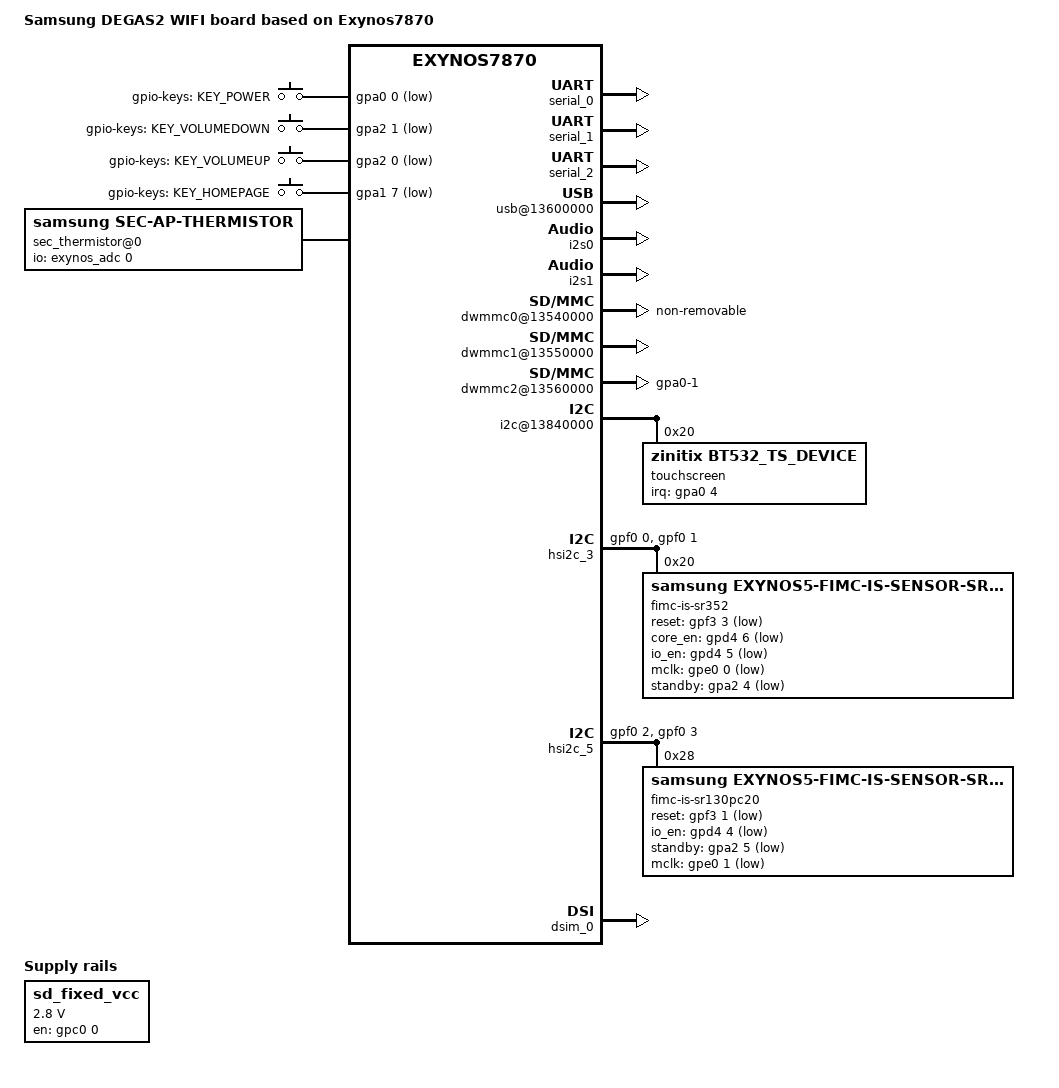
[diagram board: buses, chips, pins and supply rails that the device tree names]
/*
 * SAMSUNG UNIVERSAL8890 board device tree source
 *
 * Copyright (c) 2013 Samsung Electronics Co., Ltd.
 *		http://www.samsung.com
 *
 * This program is free software; you can redistribute it and/or modify
 * it under the terms of the GNU General Public License version 2 as
 * published by the Free Software Foundation.
*/

#include "exynos7870-rmem-1500MB.dtsi"
#include "exynos7870.dtsi"

/ {
	model = "Samsung DEGAS2 WIFI board based on Exynos7870";
	compatible = "samsung,exynos7870", "samsung,universal7870";

	ect {
		parameter_address = <0x50000000>;
		parameter_size = <0x14000>;	/* u-boot always overwrites this value. */
	};

	memory@40000000 {
		device_type = "memory";
		reg = <0x0 0x40000000 0x3E400000>;
	};

	memory@80000000 {
		device_type = "memory";
		reg = <0x0 0x80000000 0x20000000>;
	};

	chosen {
		bootargs = "console=ram ess_setup=0x46000000 androidboot.hardware=samsungexynos7870 androidboot.selinux=disabled firmware_class.path=/vendor/firmware androidboot.debug_level=0x4948 reserve-fimc=0";
		linux,initrd-start = <0x42000000>;
		linux,initrd-end = <0x420FFFFF>;
	};

	fixed-rate-clocks {
		oscclk {
			compatible = "samsung,exynos7870-oscclk";
			clock-frequency = <26000000>;
		};
	};

	reserved-memory {
		#address-cells = <2>;
		#size-cells = <1>;
		ranges;

		mfc_fw {
			compatible = "exynos5433-ion,mfc_fw";
			secure;
			reg = <0x0 0xAE800000 0x200000>;
			id = <8>;
		};

		mfc_nfw {
			compatible = "exynos5433-ion,mfc_nfw";
			reg = <0x0 0xAE600000 0x200000>;
			id = <12>;
		};
	};

	serial_0: uart@13810000 {
		status = "okay";
	};

	serial_1: uart@13800000 {
		status = "okay";
	};

	serial_2: uart@13820000 {
		status = "okay";
	};

	usb@13600000 {
		status = "okay";

		dwc3 {
			maximum-speed = "high-speed";
			dr_mode = "otg";
			is_not_vbus_pad;
		};
	};

	pinctrl_1: pinctrl@148C0000 {
		compatible = "samsung,exynos7870-pinctrl";
		reg = <0x0 0x148C0000 0x1000>;
		interrupts = <0 68 0>;
	};

	s1402x: s1402x@14880000 {
		pinctrl-names = "default", "idle";
		pinctrl-0 = <&i2s_pmic_bus
				&i2s_bt_bus>;
		pinctrl-1 = <&i2s_pmic_bus_idle
				&i2s_bt_bus_idle> ;
		bck-mcko-mode;
		status = "okay";
	};

	i2s0: i2s@148A0000 {
		status = "okay";
	};

	i2s1: i2s@148B0000 {
		status = "okay";
	};

	audio_cp_dummy: cp_dummy {
			compatible = "samsung,cp_dummy";
			status = "okay";
	};

	audio_fm_dummy: fm_dummy {
			compatible = "samsung,fm_dummy";
			status = "okay";
	};

	audio_bt_dummy: bt_dummy {
			compatible = "samsung,bt_dummy";
			status = "okay";
	};

	audio_codec_dummy: dummy-codec {
			compatible = "samsung,dummy-codec";
			status = "okay";
	};


	gpio_keys {
		compatible = "gpio-keys";
		pinctrl-names = "default";
		pinctrl-0 = <&key_power &key_voldown &key_volup &key_home>;
		#address-cells = <1>;
		#size-cells = <0>;

		button@1 {
			label = "gpio-keys: KEY_POWER";
			interrupts = <0 0 0>;
			interrupt-parent = <&gpa0>;
			linux,code = <116>;
			gpios = <&gpa0 0 0xf>;
			gpio-key,wakeup = <1>;
		};
		button@2 {
			label = "gpio-keys: KEY_VOLUMEDOWN";
			interrupts = <1 0 0>;
			interrupt-parent = <&gpa2>;
			linux,code = <114>;
			gpios = <&gpa2 1 0xf>;
		};
		button@3 {
			label = "gpio-keys: KEY_VOLUMEUP";
			interrupts = <0 0 0>;
			interrupt-parent = <&gpa2>;
			linux,code = <115>;
			gpios = <&gpa2 0 0xf>;
		};
		button@4 {
			label = "gpio-keys: KEY_HOMEPAGE";
			interrupts = <7 0 0>;
			interrupt-parent = <&gpa1>;
			linux,code = <172>;
			gpios = <&gpa1 7 0xf>;
			gpio-key,wakeup = <1>;
		};
	};

	dwmmc0@13540000 {
		status = "okay";
		num-slots = <1>;
		broken-cd;
		use-smu;
		fixed_voltage;
		clock-gate;
		supports-highspeed;
		mmc-ddr-1_8v;
		mmc-hs200-1_8v;
		mmc-hs400-1_8v;
		mmc-shutdown-poweroff;
		pm-skip-mmc-resume-init;
		supports-8bit;
		supports-cmd23;
		supports-erase;
		enable-ulp-mode;
		supports-hs400-enhanced-strobe;
		use-fine-tuning;
		bypass-for-allpass;
		card-init-hwacg-ctrl;
		fifo-depth = <0x40>;
		non-removable;
		desc-size = <4>;
		card-detect-delay = <200>;
		data-timeout = <200>;
		clock-frequency = <800000000>;
		samsung,dw-mshc-ciu-div = <3>;
		samsung,dw-mshc-txdt-crc-timer-fastlimit = <0x34>;
		samsung,dw-mshc-txdt-crc-timer-initval = <0x38>;
		samsung,dw-mshc-ddr200-delay-line = <0x60>;
		samsung,dw-mshc-sdr-timing = <3 0 4 0>;
		samsung,dw-mshc-ddr-timing = <3 0 4 2>;
		samsung,dw-mshc-hs200-timing = <3 0 3 0>;
		samsung,dw-mshc-ddr200-timing = <1 0 4 0>;
		samsung,dw-mshc-ddr200-ulp-timing = <3 0 3 0>;

		num-ref-clks = <12>;
		ciu_clkin = <25 50 50 25 50 100 200 50 50 200 200 200>;

		/* Swapping clock drive strength */
		clk-drive-number = <6>;
		pinctrl-names = "default",
			"fast-slew-rate-1x",
			"fast-slew-rate-2x",
			"fast-slew-rate-3x",
			"fast-slew-rate-4x",
			"fast-slew-rate-5x",
			"fast-slew-rate-6x";
		pinctrl-0 = <&sd0_clk &sd0_cmd &sd0_rdqs &sd0_bus1 &sd0_bus4 &sd0_bus8>;
		pinctrl-1 = <&sd0_clk_fast_slew_rate_1x>;
		pinctrl-2 = <&sd0_clk_fast_slew_rate_2x>;
		pinctrl-3 = <&sd0_clk_fast_slew_rate_3x>;
		pinctrl-4 = <&sd0_clk_fast_slew_rate_4x>;
		pinctrl-5 = <&sd0_clk_fast_slew_rate_5x>;
		pinctrl-6 = <&sd0_clk_fast_slew_rate_6x>;
		slot@0 {
			reg = <0>;
			bus-width = <8>;
		};
	};

	dwmmc1@13550000 {
		status = "okay";
		num-slots = <1>;
		channel = <1>;
		fixed_voltage;
		clock-gate;
		enable-cclk-on-suspend;
		caps-control;
		supports-highspeed;
		supports-4bit;
		sd-uhs-sdr104;
		keep-power-in-suspend;
		pm-ignore-notify;
		card-detect-type-external;
		use-broken-voltage;
		use-fine-tuning;
		ignore-phase = <(1 << 7)>;
		fifo-depth = <0x40>;
		card-detect-delay = <200>;
		samsung,dw-mshc-ciu-div = <3>;
		samsung,dw-mshc-sdr-timing = <3 0 3 0>;
		samsung,dw-mshc-ddr-timing = <3 0 2 1>;
		samsung,dw-mshc-sdr50-timing = <3 0 4 2>;
		samsung,dw-mshc-sdr104-timing = <3 0 3 0>;
		clk_pin = "gpr2-0";
		clk_addr = "13750000.pinctrl";
		clk_val = <0x2>;
		clk_str_num = <4>;
		num-ref-clks = <9>;
		ciu_clkin = <25 50 50 25 50 100 200 50 50>;

		pinctrl-names = "default";
		pinctrl-0 = <&sd1_clk &sd1_cmd &sd1_bus1 &sd1_bus4>;
		slot@0 {
			reg = <0>;
			bus-width = <4>;
		};
	};

	dwmmc2@13560000 {
		status = "okay";
		num-slots = <1>;
		supports-highspeed;
		supports-4bit;
		supports-cmd23;
		supports-erase;
		sd-uhs-sdr50;
		sd-uhs-sdr104;
		card-detect-gpio;
		clock-gate;
		bypass-smu;
		bypass-for-allpass;
		use-fine-tuning;
		card-init-hwacg-ctrl;
		only_once_tune;
		skip-init-mmc-scan;
		samsung,voltage-int-extra = <0x7>;
		ignore-phase = <(1 << 7)>;
		fifo-depth = <0x40>;
		desc-size = <8>;
		card-detect-delay = <200>;
		data-timeout = <200>;
		hto-timeout = <550>;
		samsung,dw-mshc-ciu-div = <3>;
		clock-frequency = <800000000>;
		samsung,dw-mshc-sdr-timing = <3 0 3 0>;
		samsung,dw-mshc-ddr-timing = <3 0 2 1>;
		samsung,dw-mshc-sdr50-timing = <3 0 4 2>;
		samsung,dw-mshc-sdr104-timing = <3 0 3 0>;

		num-ref-clks = <9>;
		ciu_clkin = <25 50 50 25 50 100 167 50 50>;

		/* Swapping clock drive strength */
		clk-drive-number = <4>;
		pinctrl-names = "default",
			"fast-slew-rate-1x",
			"fast-slew-rate-2x",
			"fast-slew-rate-3x",
			"fast-slew-rate-4x";
		pinctrl-0 = <&sd2_clk &sd2_cmd &sd2_bus1 &sd2_bus4 &dwmmc2_cd_ext_irq>;
		pinctrl-1 = <&sd2_clk_fast_slew_rate_1x>;
		pinctrl-2 = <&sd2_clk_fast_slew_rate_2x>;
		pinctrl-3 = <&sd2_clk_fast_slew_rate_3x>;
		pinctrl-4 = <&sd2_clk_fast_slew_rate_4x>;

		card-detect = <&gpa0 1 0xf>;
		card-detect-gpio;
		sec-sd-slot-type = <1>; /* Normal SD slot */

		slot@0 {
			reg = <0>;
			bus-width = <4>;
			disable-wp;
		};
	};

	pinctrl@139B0000 {
		boot_ldo: boot-ldo {
			samsung,pins = "gpc0-0";
			samsung,pin-pud = <1>;
			samsung,pin-pud-pdn = <1>;
		};
	};

	sd_fixed_vcc: fixedregulator@0 {
		compatible = "regulator-fixed";
		regulator-name = "vmmc";
		/* gpc0-0 and gpc0-2 register is switched */
		/* This is to make gpc0-2 pull-down enabled */
		/* PUD, DRV, PUDPDN: See exynos7870 UM v0.3 for more details */
		pinctrl-names = "default";
		pinctrl-0 = <&boot_ldo>;
		gpio = <&gpc0 0 1>;
		regulator-min-microvolt = <2800000>;
		regulator-max-microvolt = <2800000>;
		enable-active-high;
		regulator-initial-mode = <0>;
	};

	pinctrl@139F0000 {
		attn_input: attn-input {
			samsung,pins = "gpa0-4";
			samsung,pin-function = <0>;
			samsung,pin-pud = <0>;
			samsung,pin-drv = <0>;
		};
		attn_irq: attn-irq {
			samsung,pins = "gpa0-4";
			samsung,pin-function = <0xf>;
			samsung,pin-pud = <0>;
			samsung,pin-drv = <0>;
		};
	};

	i2c@13840000 {
		samsung,i2c-sda-delay = <100>;
		samsung,i2c-max-bus-freq = <400000>;
		status = "okay";
		touchscreen@20 {
			compatible = "zinitix,bt532_ts_device";
			reg = <0x20>;
			pinctrl-names = "on_state", "off_state";
			pinctrl-0 = <&attn_irq>;
			pinctrl-1 = <&attn_input>;
			zinitix,irq_gpio = <&gpa0 4 0>;
			zinitix,regulator_dvdd = "TSP_VDD_3P3";
			zinitix,regulator_avdd = "vdd_ldo3";
			zinitix,x_resolution = <3200>;
			zinitix,y_resolution = <5120>;
			zinitix,page_size = <64>;
			zinitix,orientation = <0>;
			zinitix,chip_name = "ZT7548";
			zinitix,firmware_name = "tsp_zinitix/zt7548_degas2.fw";
			zinitix,touchkey = "true";
		};
	};


	pinctrl@139B0000 {
		cfg_gpio: cfg-gpio {
			samsung,pins = "gpc8-1", "gpc8-0";
			samsung,pin-function = <0>;
			samsung,pin-pud = <0>;
			samsung,pin-drv = <0>;
		};
	};

	pinctrl@139B0000 {
		/* I2C_SENSOR1 */
		i2c5_bus: i2c5-bus {
			samsung,pins = "gpc4-3", "gpc4-2";
			samsung,pin-function = <2>;
			samsung,pin-pud = <0>;
			samsung,pin-drv = <0>;
		};
	};

	pinctrl@139F0000 {
		key_power: key-power {
			samsung,pins = "gpa0-0";
			samsung,pin-function = <0xf>;
			samsung,pin-pud = <0>;
			samsung,pin-drv = <0>;
		};
		dwmmc2_cd_ext_irq: dwmmc2_cd_ext_irq {
			samsung,pins = "gpa0-1";
			samsung,pin-function = <0xf>;
			samsung,pin-pud = <0>;
			samsung,pin-drv = <0>;
		};
		grip_wifi_int: grip_wifi_int {
			samsung,pins = "gpa0-5";
			samsung,pin-function = <0xf>;
			samsung,pin-pud = <0>;
			samsung,pin-drv = <0>;
		};
		acc_int: acc_int {
			samsung,pins = "gpa0-7";
			samsung,pins-function = <0xf>;
			samsung,pin-pud = <0>;
			samsung,pin-drv = <0>;
		};
		key_voldown: key-voldown {
			samsung,pins = "gpa2-1";
			samsung,pin-function = <0xf>;
			samsung,pin-pud = <0>;
			samsung,pin-drv = <0>;
		};

		key_volup: key-volup {
			samsung,pins = "gpa2-0";
			samsung,pin-function = <0xf>;
			samsung,pin-pud = <0>;
			samsung,pin-drv = <0>;
		};

		key_home: key-home {
			samsung,pins = "gpa1-7";
			samsung,pin-function = <0xf>;
			samsung,pin-pud = <0>;
			samsung,pin-drv = <0>;
		};
		pmic_irq: pmic-irq {
			samsung,pins = "gpa0-2";
			samsung,pin-pud = <3>;
			samsung,pin-drv = <3>;
		};

		cod3026_irq: cod3026-irq {
			samsung,pins = "gpa1-5";
			samsung,pin-pud = <3>;
			samsung,pin-drv = <3>;
		};

		if_irq: if-irq {
			samsung,pins = "gpa2-7";
			samsung,pin-pud = <3>;
			samsung,pin-drv = <3>;
		};

		cfg_wlanhostwake: cfg-wlanhostwake {
			samsung,pins = "gpa2-2";
			samsung,pin-function = <1>;
			samsung,pin-pud = <3>;
		};

	};

	pinctrl@139E0000 {
		if_pmic_rstb: if-pmic-rstb {
			samsung,pins = "gpc7-4";
			samsung,pin-function = <2>;
			samsung,pin-pud = <3>;
			samsung,pin-con-pdn = <3>;
		};
	};

	pinctrl@139B0000 {
		/* Warm reset information from AP */
		pm_wrsti: pm-wrsti {
			samsung,pins = "gpd1-0";
			samsung,pin-con-pdn = <3>;
		};
	};

	pinctrl@139B0000 {
		cnss_wlanen: cnss-wlanen  {       /* WLAN_EN */
			samsung,pins = "gpd3-6";
			samsung,pin-function = <1>;
			samsung,pin-pud = <0>;
			samsung,pin-drv = <3>;
			samsung,pin-con-pdn = <3>;
			samsung,pin-pud-pdn = <0>;
			samsung,pin-val = <0>;
		};
	};

	sound {
		compatible = "samsung,universal7870-cod3026x";
		samsung,audio-cpu = <&i2s0      /* primary */
			&i2s0                    /* secondary */
			&audio_cp_dummy
			&audio_bt_dummy
			&audio_fm_dummy
			&i2s1			/*AMP for AP */
			&audio_cp_dummy		/*AMP for CP */
			&eax
			&eax
			&eax
			&eax>;
		samsung,audio-codec = <&audio_codec_cod3026x
			&audio_codec_cod3026x
			&audio_codec_cod3026x
			&audio_codec_dummy
			&audio_codec_cod3026x
			&audio_codec_dummy
			&audio_codec_dummy
			&audio_codec_cod3026x
			&audio_codec_cod3026x
			&audio_codec_cod3026x
			&audio_codec_cod3026x>;
		mic-bias-mode = <2 1 2 0>;
		samsung,auxdev = <&s1402x>;
		status = "okay";
	};

	ion {
		compatible = "samsung,exynos5430-ion";
	};

	tmuctrl_0: tmuctrl_CPUCL0@10130000 {
		compatible = "samsung,exynos7870-tmu";
		reg = <0x0 0x10130000 0x200>;
		interrupts = <0 435 0>;
		max_trigger_level = <8>;
		non_hw_trigger_levels = <7>;

		/* Throttling Level */
		trigger_levels_0 = <76>;
		trigger_levels_1 = <81>;
		trigger_levels_2 = <86>;
		trigger_levels_3 = <91>;
		trigger_levels_4 = <96>;
		trigger_levels_5 = <101>;
		trigger_levels_6 = <111>;
		trigger_levels_7 = <115>;

		trigger_enable_0 = <ENABLE>;
		trigger_enable_1 = <ENABLE>;
		trigger_enable_2 = <ENABLE>;
		trigger_enable_3 = <ENABLE>;
		trigger_enable_4 = <ENABLE>;
		trigger_enable_5 = <ENABLE>;
		trigger_enable_6 = <ENABLE>;
		trigger_enable_7 = <ENABLE>;

		trigger_type_0 = <THROTTLE_ACTIVE>;
		trigger_type_1 = <THROTTLE_ACTIVE>;
		trigger_type_2 = <THROTTLE_ACTIVE>;
		trigger_type_3 = <THROTTLE_ACTIVE>;
		trigger_type_4 = <THROTTLE_ACTIVE>;
		trigger_type_5 = <THROTTLE_ACTIVE>;
		trigger_type_6 = <THROTTLE_ACTIVE>;
		trigger_type_7 = <HW_TRIP>;

		freq_tab_count = <5>;

		freq_clip_max_0 = <1586000>;
		freq_clip_max_1 = <1248000>;
		freq_clip_max_2 = <1248000>;
		freq_clip_max_3 = <546000>;
		freq_clip_max_4 = <546000>;

		cooling_level_0 = <76>;
		cooling_level_1 = <81>;
		cooling_level_2 = <86>;
		cooling_level_3 = <91>;
		cooling_level_4 = <96>;
	};

	tmuctrl_1: tmuctrl_CPUCL1@10130000 {
		compatible = "samsung,exynos7870-tmu";
		reg = <0x0 0x10130000 0x200>;
		interrupts = <0 435 0>;
		max_trigger_level = <8>;
		non_hw_trigger_levels = <7>;

		/* Throttling Level */
		trigger_levels_0 = <76>;
		trigger_levels_1 = <81>;
		trigger_levels_2 = <86>;
		trigger_levels_3 = <91>;
		trigger_levels_4 = <96>;
		trigger_levels_5 = <101>;
		trigger_levels_6 = <111>;
		trigger_levels_7 = <115>;

		trigger_enable_0 = <ENABLE>;
		trigger_enable_1 = <ENABLE>;
		trigger_enable_2 = <ENABLE>;
		trigger_enable_3 = <ENABLE>;
		trigger_enable_4 = <ENABLE>;
		trigger_enable_5 = <ENABLE>;
		trigger_enable_6 = <ENABLE>;
		trigger_enable_7 = <ENABLE>;

		trigger_type_0 = <THROTTLE_ACTIVE>;
		trigger_type_1 = <THROTTLE_ACTIVE>;
		trigger_type_2 = <THROTTLE_ACTIVE>;
		trigger_type_3 = <THROTTLE_ACTIVE>;
		trigger_type_4 = <THROTTLE_ACTIVE>;
		trigger_type_5 = <THROTTLE_ACTIVE>;
		trigger_type_6 = <THROTTLE_ACTIVE>;
		trigger_type_7 = <HW_TRIP>;

		freq_tab_count = <5>;

		freq_clip_max_0 = <1586000>;
		freq_clip_max_1 = <1248000>;
		freq_clip_max_2 = <1248000>;
		freq_clip_max_3 = <546000>;
		freq_clip_max_4 = <546000>;

		cooling_level_0 = <76>;
		cooling_level_1 = <81>;
		cooling_level_2 = <86>;
		cooling_level_3 = <91>;
		cooling_level_4 = <96>;

		hotplug_enable = <1>;
		hotplug_in_threshold = <91>;
		hotplug_out_threshold = <96>;
	};

	tmuctrl_2: tmuctrl_G3D@10130000 {
		compatible = "samsung,exynos7870-tmu";
		reg = <0x0 0x10130000 0x200>;
		interrupts = <0 435 0>;
		max_trigger_level = <8>;
		non_hw_trigger_levels = <7>;

		/* Throttling Level */
		trigger_levels_0 = <76>;
		trigger_levels_1 = <81>;
		trigger_levels_2 = <86>;
		trigger_levels_3 = <91>;
		trigger_levels_4 = <96>;
		trigger_levels_5 = <101>;
		trigger_levels_6 = <111>;
		trigger_levels_7 = <115>;

		trigger_enable_0 = <ENABLE>;
		trigger_enable_1 = <ENABLE>;
		trigger_enable_2 = <ENABLE>;
		trigger_enable_3 = <ENABLE>;
		trigger_enable_4 = <ENABLE>;
		trigger_enable_5 = <ENABLE>;
		trigger_enable_6 = <ENABLE>;
		trigger_enable_7 = <ENABLE>;

		trigger_type_0 = <THROTTLE_ACTIVE>;
		trigger_type_1 = <THROTTLE_ACTIVE>;
		trigger_type_2 = <THROTTLE_ACTIVE>;
		trigger_type_3 = <THROTTLE_ACTIVE>;
		trigger_type_4 = <THROTTLE_ACTIVE>;
		trigger_type_5 = <THROTTLE_ACTIVE>;
		trigger_type_6 = <THROTTLE_ACTIVE>;
		trigger_type_7 = <HW_TRIP>;

		freq_tab_count = <6>;

		freq_clip_max_0 = <1246000>;
		freq_clip_max_1 = <1146000>;
		freq_clip_max_2 = <1001000>;
		freq_clip_max_3 = <728000>;
		freq_clip_max_4 = <343000>;
		freq_clip_max_5 = <343000>;

		cooling_level_0 = <76>;
		cooling_level_1 = <81>;
		cooling_level_2 = <86>;
		cooling_level_3 = <91>;
		cooling_level_4 = <96>;
		cooling_level_5 = <101>;

		/* gpu cooling related table */
		gpu_idx_num = <6>;
		/* flags, driver_data(index), frequency */
		gpu_cooling_table = < 0 0 1001000
				      0 1 845000
				      0 2 728000
				      0 3 545000
				      0 4 343000
				      0 5 TABLE_END>;
	};

	/* modem_interface */
	mif_pdata {
		reg = <0 0x10000 0x14>;
		pinctrl-names = "default";
		pinctrl-0 = <&ds_det>;

		/* To do: will be remove, for system revision */
		gpios = <&gpd2 4 0x0>,
		       <&gpd2 5 0x0>,
		       <&gpd3 0 0x0>,
		       <&gpd3 1 0x0>;

		mif,gpio_ds_det = <&gpd1 2 0x0>;

		mif,ap_clk_table = <
			/* khz */
			1586000
			1482000
			1352000
			1248000
			1144000
			1014000
			902000
			839000
			757000
			676000
			546000
			449000
			345000
			>;

		mif,mif_clk_table = <
			/* khz */
			902000
			825000
			728000
			676000
			546000
			451000
			275000
			>;

		mif,int_clk_table = <
			/* khz */
			400000
			334000
			200000
			134000
			>;
	};

	fimc_is@14400000 {
		vender {
			rear_sensor_id = <303>; /* SENSOR_NAME_SR352 */
			front_sensor_id = <304>; /* SENSOR_NAME_SR130PC20 */
			use_module_check;

			total_camera_num = <2>;
			camera_info0 {				// 0 : rear
				isp = <0>;				/* 0 : INT , 1 : EXT , 2 : SOC */
				cal_memory = <3>;		/* 0 : N , 1 : FROM , 2 : EEPROM , 3 : OTP  */
				read_version = <0>;		/* 0 : SYSFS , 1 : CAMON */

				core_voltage = <0>;		/* 0 : N , 1 : Y  */
				upgrade = <0>;			/* 0 : N , 1 : SYSFS , 2 : CAMON */
				companion = <0>;		/* 0 : N , 1 : Y  */
				ois = <0>;				/* 0 : N , 1 : Y  */
			};
			camera_info1 {				// 1 : front
				isp = <0>;				/* 0 : INT , 1 : EXT , 2 : SOC */
				cal_memory = <0>;		/* 0 : N , 1 : FROM , 2 : EEPROM , 3 : OTP  */
				read_version = <0>;		/* 0 : SYSFS , 1 : CAMON */

				core_voltage = <0>;		/* 0 : N , 1 : Y  */
				upgrade = <0>;			/* 0 : N , 1 : SYSFS , 2 : CAMON */
				companion = <0>;		/* 0 : N , 1 : Y  */
				ois = <0>;				/* 0 : N , 1 : Y  */
			};
		};

		fimc_is_dvfs {
			#define DVFS_INT_L0 400000
			#define DVFS_INT_L1 334000
			#define DVFS_INT_L2 200000
			#define DVFS_INT_L3 134000

			#define DVFS_CAM_L0 533000
			#define DVFS_CAM_L1 334000
			#define DVFS_CAM_L2 167000

			#define DVFS_MIF_L0 902000
			#define DVFS_MIF_L1 825000
			#define DVFS_MIF_L2 728000
			#define DVFS_MIF_L3 676000
			#define DVFS_MIF_L4 546000
			#define DVFS_MIF_L5 451000

			table0 {
				desc = "default Max version";

				default_int = <0>;
				default_cam = <DVFS_CAM_L0>;
				default_mif = <DVFS_MIF_L0>;
				default_i2c = <0>;

				ext_front_int = <0>;
				ext_front_cam = <DVFS_CAM_L1>;
				ext_front_mif = <DVFS_MIF_L3>;
				ext_front_i2c = <0>;

				ext_rear_int = <0>;
				ext_rear_cam = <DVFS_CAM_L0>;
				ext_rear_mif = <DVFS_MIF_L2>;
				ext_rear_i2c = <0>;

				max_int = <0>;
				max_cam = <DVFS_CAM_L0>;
				max_mif = <DVFS_MIF_L0>;
				max_i2c = <0>;
			};

			table1 {
				desc = "default Max version";

				default_int = <0>;
				default_cam = <DVFS_CAM_L0>;
				default_mif = <DVFS_MIF_L0>;
				default_i2c = <0>;

				ext_front_int = <0>;
				ext_front_cam = <DVFS_CAM_L1>;
				ext_front_mif = <DVFS_MIF_L3>;
				ext_front_i2c = <0>;

				ext_rear_int = <0>;
				ext_rear_cam = <DVFS_CAM_L0>;
				ext_rear_mif = <DVFS_MIF_L2>;
				ext_rear_i2c = <0>;

				max_int = <0>;
				max_cam = <DVFS_CAM_L0>;
				max_mif = <DVFS_MIF_L0>;
				max_i2c = <0>;
			};
		};
	};
	hsi2c_3: hsi2c@138A0000 {
		gpios = <&gpf0 0 0 &gpf0 1 0>;
		status = "okay";
		samsung,i2c-sda-delay = <100>;
		samsung,i2c-max-bus-freq = <400000>;

		pinctrl-names = "default";
		pinctrl-0 = <&hs_i2c3_bus>;

		fimc-is-sr352@20 {
			compatible = "samsung,exynos5-fimc-is-sensor-sr352";
			reg = <0x20>;
			setfile = "default";
			pinctrl-names = "pin0", "pin1";
			pinctrl-0 = <&fimc_is_mclk0_fn>; /* rear on */
			pinctrl-1 = <&fimc_is_mclk0_in>; /* rear off */

			position = <0>; /* Rear:0. Front:1 */
			id = <0>; /* bns_id */
			mclk_ch = <0>;
			sensor_i2c_ch = <0>; /* I2C 0 */
			sensor_i2c_addr = <0x20>; /* need the i2c_addr modify */

			gpio_reset = <&gpf3 3 0x1>; /* 3M_CAM_nRST */
			gpio_core_en = <&gpd4 6 0x1>; /* CAM_CORE_1P25_EN */
			gpio_io_en = <&gpd4 5 0x1>; /* 3M_CAM_1P8_EN */
			gpio_mclk = <&gpe0 0 0x1>; /* 3M_CAM_MCLK */
			gpio_standby = <&gpa2 4 0x1>; /* 3M_CAM_STBY */
			status = "okay";
		};
	};

	hsi2c_5: hsi2c@138C0000 {
		gpios = <&gpf0 2 0 &gpf0 3 0>;
		status = "okay";
		samsung,i2c-sda-delay = <100>;
		samsung,i2c-max-bus-freq = <400000>;

		pinctrl-names = "default";
		pinctrl-0 = <&hs_i2c5_bus>;

		fimc-is-sr130pc20@28 {
			compatible = "samsung,exynos5-fimc-is-sensor-sr130pc20";
			reg = <0x28>;
			setfile = "default";
			pinctrl-names = "pin0", "pin1";
			pinctrl-0 = <&fimc_is_mclk1_fn>; /* front on */
			pinctrl-1 = <&fimc_is_mclk1_in>; /* front off */

			position = <1>; /* Rear:0. Front:1 */
			id = <1>; /* bns_id */
			mclk_ch = <1>;
			sensor_i2c_ch = <1>;
			sensor_i2c_addr = <0x28>; /* need the i2c_addr modify */

			gpio_reset = <&gpf3 1 0x1>;
			gpio_io_en = <&gpd4 4 0x1>; /* VT_CAM_1P8 */
			gpio_standby = <&gpa2 5 0x1>; /* VT_CAM_STBY */
			gpio_mclk = <&gpe0 1 0x1>; /* VT_CAM_MCLK */
			status = "okay";
		};
	};

	#define SENSOR_SCENARIO_NORMAL		0
	#define SENSOR_SCENARIO_VISION		1
	#define SENSOR_SCENARIO_EXTERNAL	2
	#define SENSOR_SCENARIO_OIS_FACTORY	3
	#define SENSOR_SCENARIO_VIRTUAL		9
	#define FLITE_ID_NOTHING 100

	pinctrl@139B0000 {
		hrm_vdd_io_en: hrm_vdd_io_en {
			samsung,pins = "gpd4-3";
			samsung,pin-function = <1>;
			samsung,pin-pud = <1>;
			samsung,pin-val = <0>;
		};
		hrm_vdd_en: hrm_vdd_en {
			samsung,pins = "gpd2-3";
			samsung,pin-function = <1>;
			samsung,pin-pud = <1>;
			samsung,pin-val = <0>;
		};
	};

	fimc_is_sensor0: fimc_is_sensor@14420000 {
		scenario = <SENSOR_SCENARIO_EXTERNAL>;	/* 2. SENSOR_SCENARIO_EXTERNAL */
		id = <0>;
		mclk_ch = <0>;
		csi_ch = <0>;
		flite_ch = <0>;
		is_bns = <0>;
		status = "okay";
	};

	fimc_is_sensor1: fimc_is_sensor@14460000 {
		scenario = <SENSOR_SCENARIO_EXTERNAL>;	/* 2. SENSOR_SCENARIO_EXTERNAL */
		id = <1>;
		mclk_ch = <1>;
		csi_ch = <1>;
		flite_ch = <1>;
		is_bns = <0>;
		status = "okay";
	};

	decon_fb@14830000 {
		psr_mode = <0>; /* 0: video mode, 1: DP command mode, 2: MIPI command mode */
		trig_mode = <1>;	/* 0: hw trigger, 1: sw trigger */
		disp-pll-clk = <69000000>;
		disp-eclk = <160000000>;
		disp-vclk = <69000000>;
		disp-dvfs = <200000>;
		status = "okay";
		bootloader_fb = <0x67000000 0 0 800 1280 0>;
	};

	dsim_0: dsim@14800000 {
		lcd_info = <&s6d7aa0_wxga>;
		decon_board = <&decon_board>;
		status = "okay";
	};

	decon_board_old: decon_board_old {
		gpio_lcd_en = <&gpd3 4 0x1>;
		gpio_blic_on = <&gpd4 3 0x1>;
		gpio_lcd_rst = <&gpd1 1 0x1>;

		dsim_set_panel_power_enable {
			type =
			"gpio,high",	"gpio_lcd_en",
			"delay,usleep",	"10000 11000",
			"regulator,enable",	"LCD_1P8",
			"delay,usleep",	"10000 11000",
			"gpio,high",	"gpio_blic_on";
		};
		dsim_set_panel_power_disable {
			type =
			"gpio,low",	"gpio_lcd_rst",
			"delay,usleep",	"10000 11000",
			"gpio,low",	"gpio_blic_on",
			"delay,usleep",	"10000 11000",
			"regulator,disable",	"LCD_1P8",
			"delay,usleep",	"10000 11000",
			"gpio,low",	"gpio_lcd_en";
		};
		dsim_reset_panel {
			type =
			"gpio,high",	"gpio_lcd_rst",
			"delay,usleep",	"10000 11000",
			"gpio,low",	"gpio_lcd_rst",
			"delay,msleep",	"20",
			"gpio,high",	"gpio_lcd_rst",
			"delay,msleep",	"100";
		};
	};

	decon_board: decon_board {
		gpio_lcd_en = <&gpd3 4 0x1>;
		gpio_lcd_rst = <&gpd1 1 0x1>;

		dsim_set_panel_power_enable {
			type =
			"gpio,high",	"gpio_lcd_en",
			"delay,usleep",	"10000 11000",
			"regulator,enable",	"LCD_1P8",
			"delay,usleep",	"10000 11000";
		};
		dsim_set_panel_power_disable {
			type =
			"gpio,low",	"gpio_lcd_rst",
			"delay,usleep",	"10000 11000",
			"regulator,disable",	"LCD_1P8",
			"delay,usleep",	"10000 11000",
			"gpio,low",	"gpio_lcd_en";
		};
		dsim_reset_panel {
			type =
			"gpio,high",	"gpio_lcd_rst",
			"delay,usleep",	"10000 11000",
			"gpio,low",	"gpio_lcd_rst",
			"delay,msleep",	"20",
			"gpio,high",	"gpio_lcd_rst",
			"delay,msleep",	"100";
		};
	};

	s6d7aa0_wxga: s6d7aa0_wxga {
		mode = <0>; /* 0: video mode, 1: DP command mode, 2: MIPI command mode */
		resolution = <800 1280>;
		size = <94 151>;
		ddi_type = <0>;
		timing,refresh = <60>;
		/* HBP HFP HSW */
		timing,h-porch = <64 16 4>;
		/* VBP VFP VSW */
		timing,v-porch = <6 8 2>;
		timing,dsi-hs-clk = <480>;
		timing,pms = <13 480 1>;
		timing,dsi-escape-clk = <16>;
	};

	pinctrl@139B0000 {
		ds_det: ds_det {
			samsung,pins = "gpd1-2";
			samsung,pin-function = <0>;	/* INPUT */
			samsung,pin-pud = <0>;
			samsung,pin-con-pdn = <3>;	/* PREV STATE */
			samsung,pin-pud-pdn = <0>;
		};
	};

	sec_thermistor@0 {
		compatible = "samsung,sec-ap-thermistor";
		status = "okay";

		adc_array = <279 286 294 301 309 317 325 335 345 356
				367 381 395 409 423 437 450 464 478 492
				506 527 548 570 591 612 634 656 679 701
				723 747 772 796 821 845 864 884 903 923
				942 985 1028 1070 1113 1156 1194 1232 1269 1307
				1345 1389 1433 1478 1522 1566 1601 1636 1671 1706
				1741 1785 1828 1872 1915 1959 2002 2046 2089 2133
				2183 2232 2282 2331 2381 2422 2462 2503 2544 2584
				2625 2666 2707 2747 2788 2829 2866 2903 2939 2976
				3013 3039 3064 3090 3115 3141 3183 3225 3266 3308
				3350 3370 3390 3410 3430 3450 3464 3477 3491 3504 3518>;
		temp_array = <900 890 880 870 860 850 840 830 820 810
					   800 790 780 770 760 750 740 730 720 710
					   700 690 680 670 660 650 640 630 620 610
					   600 590 580 570 560 550 540 530 520 510
					   500 490 480 470 460 450 440 430 420 410
					   400 390 380 370 360 350 340 330 320 310
					   300 290 280 270 260 250 240 230 220 210
					   200 190 180 170 160 150 140 130 120 110
					   100 90 80 70 60 50 40 30 20 10
					   0 (-10) (-20) (-30) (-40) (-50) (-60) (-70) (-80) (-90)
					   (-100) (-110) (-120) (-130) (-140) (-150) (-160) (-170) (-180) (-190) (-200)>;
		io-channels = <&exynos_adc 0>;
		io-channel-names = "adc-ap-temp";
		io-channel-ranges;
	};
	
	argos {
		compatible = "samsung,argos";
		#address-cells = <1>;

		boot_device@1 {
			net_boost,label="WIFI";
			net_boost,node="wlan0";
			net_boost,table_size = <3>;
			net_boost,table= <
				20  900000  0  900000  0 0 0 0 0
				60  1014000 0  1014000 0 0 0 0 0
				120 1352000 0  1352000 0 0 0 0 0
				>;
		 };
		 boot_device@2 {
			net_boost,label="P2P";
			net_boost,node="p2p-wlan0-0";
			net_boost,table_size = <3>;
			net_boost,table= <
				30 1014000 0 1014000 0 0 0 0 0
				50 1248000 0 1248000 0 0 0 0 0
				90 1352000 0 1352000 0 0 0 0 0
				>;
		};
	};
};
